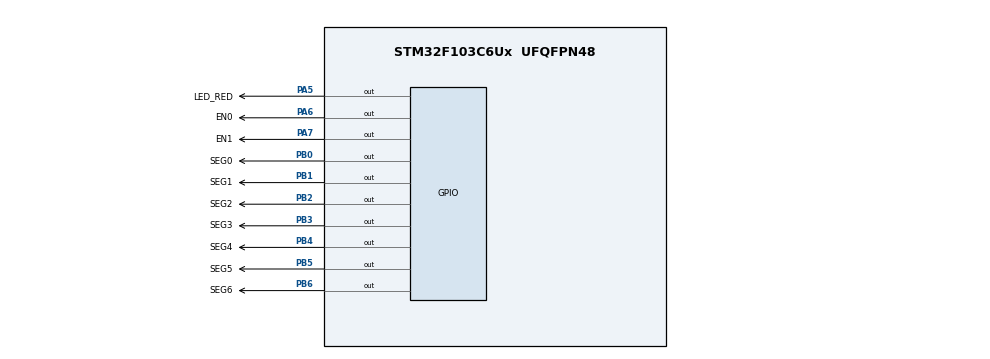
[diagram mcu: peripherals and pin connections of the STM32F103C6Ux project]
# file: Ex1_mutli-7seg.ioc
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Mcu.Family=STM32F1
Mcu.Name=STM32F103C6Ux
Mcu.Package=UFQFPN48
NVIC.PriorityGroup=NVIC_PRIORITYGROUP_4
NVIC.TIM2_IRQn=true\:0\:0\:false\:false\:true\:true\:true
PA5.GPIO_Label=LED_RED
PA5.Signal=GPIO_Output
PA6.GPIO_Label=EN0
PA6.Signal=GPIO_Output
PA7.GPIO_Label=EN1
PA7.Signal=GPIO_Output
PB0.GPIO_Label=SEG0
PB0.Signal=GPIO_Output
PB1.GPIO_Label=SEG1
PB1.Signal=GPIO_Output
PB2.GPIO_Label=SEG2
PB2.Signal=GPIO_Output
PB3.GPIO_Label=SEG3
PB3.Signal=GPIO_Output
PB4.GPIO_Label=SEG4
PB4.Signal=GPIO_Output
PB5.GPIO_Label=SEG5
PB5.Signal=GPIO_Output
PB6.GPIO_Label=SEG6
PB6.Signal=GPIO_Output
ProjectManager.HeapSize=0x200
ProjectManager.StackSize=0x400
ProjectManager.TargetToolchain=STM32CubeIDE
RCC.APB1Freq_Value=8000000
RCC.APB2Freq_Value=8000000
TIM2.Period=9
TIM2.Prescaler=7999
VP_SYS_VS_ND.Mode=No_Debug
VP_TIM2_VS_ClockSourceINT.Mode=Internal
board=custom

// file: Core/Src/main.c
/* USER CODE BEGIN Header */
/**
  ******************************************************************************
  * @file           : main.c
  * @brief          : Main program body
  ******************************************************************************
  * @attention
  *
  * <h2><center>&copy; Copyright (c) 2026 STMicroelectronics.
  * All rights reserved.</center></h2>
  *
  * This software component is licensed by ST under BSD 3-Clause license,
  * the "License"; You may not use this file except in compliance with the
  * License. You may obtain a copy of the License at:
  *                        opensource.org/licenses/BSD-3-Clause
  *
  ******************************************************************************
  */
/* USER CODE END Header */
#include "main.h"

/* USER CODE BEGIN Includes */
#include "software_timer.h"
/* USER CODE END Includes */

TIM_HandleTypeDef htim2;

void SystemClock_Config(void);
static void MX_GPIO_Init(void);
static void MX_TIM2_Init(void);

/* USER CODE BEGIN 0 */
void display7SEG(int num) {
    // Mảng mã hóa cho LED 7 đoạn Anode chung (g f e d c b a)
    // 0: BẬT (RESET), 1: TẮT (SET)
    const uint8_t segment_patterns[10] = {
        0x3F, // 0: 0111111 -> sáng a,b,c,d,e,f
        0x06, // 1: 0000110 -> sáng b,c
        0x5B, // 2: 1011011 -> sáng a,b,d,e,g
        0x4F, // 3: 1001111 -> sáng a,b,c,d,g
        0x66, // 4: 1100110 -> sáng b,c,f,g
        0x6D, // 5: 1101101 -> sáng a,c,d,f,g
        0x7D, // 6: 1111101 -> sáng a,c,d,e,f,g
        0x07, // 7: 0000111 -> sáng a,b,c
        0x7F, // 8: 1111111 -> sáng a,b,c,d,e,f,g
        0x6F  // 9: 1101111 -> sáng a,b,c,d,f,g
    };

    if (num < 0 || num > 9) return;

    uint8_t pattern = segment_patterns[num];

    // Ghi trạng thái ra từng chân từ PB0 (a) đến PB6 (g)
    // Anode chung: Bit = 1 thì xuất mức 0 (RESET) để đèn sáng
    HAL_GPIO_WritePin(GPIOB, GPIO_PIN_0, (pattern & (1 << 0)) ? GPIO_PIN_RESET : GPIO_PIN_SET);
    HAL_GPIO_WritePin(GPIOB, GPIO_PIN_1, (pattern & (1 << 1)) ? GPIO_PIN_RESET : GPIO_PIN_SET);
    HAL_GPIO_WritePin(GPIOB, GPIO_PIN_2, (pattern & (1 << 2)) ? GPIO_PIN_RESET : GPIO_PIN_SET);
    HAL_GPIO_WritePin(GPIOB, GPIO_PIN_3, (pattern & (1 << 3)) ? GPIO_PIN_RESET : GPIO_PIN_SET);
    HAL_GPIO_WritePin(GPIOB, GPIO_PIN_4, (pattern & (1 << 4)) ? GPIO_PIN_RESET : GPIO_PIN_SET);
    HAL_GPIO_WritePin(GPIOB, GPIO_PIN_5, (pattern & (1 << 5)) ? GPIO_PIN_RESET : GPIO_PIN_SET);
    HAL_GPIO_WritePin(GPIOB, GPIO_PIN_6, (pattern & (1 << 6)) ? GPIO_PIN_RESET : GPIO_PIN_SET);
}
/* USER CODE END 0 */

int main(void)
{

  /* MCU Configuration--------------------------------------------------------*/

  /* Reset of all peripherals, Initializes the Flash interface and the Systick. */
  HAL_Init();

  /* Configure the system clock */
  SystemClock_Config();

  /* Initialize all configured peripherals */
  MX_GPIO_Init();
  MX_TIM2_Init();
  /* USER CODE BEGIN 2 */
  HAL_TIM_Base_Start_IT(&htim2);
  // Ngat PNP
  HAL_GPIO_WritePin(EN0_GPIO_Port, EN0_Pin, GPIO_PIN_SET);
  HAL_GPIO_WritePin(EN1_GPIO_Port, EN1_Pin, GPIO_PIN_SET);
  /* USER CODE END 2 */

  /* Infinite loop */
  /* USER CODE BEGIN WHILE */
  while (1)
  {
	// // Toan bo xu ly nam trong ngat timer
    /* USER CODE END WHILE */

  }
}

void SystemClock_Config(void)
{
  RCC_OscInitTypeDef RCC_OscInitStruct = {0};
  RCC_ClkInitTypeDef RCC_ClkInitStruct = {0};

  /** Initializes the RCC Oscillators according to the specified parameters
  * in the RCC_OscInitTypeDef structure.
  */
  RCC_OscInitStruct.OscillatorType = RCC_OSCILLATORTYPE_HSI;
  RCC_OscInitStruct.HSIState = RCC_HSI_ON;
  RCC_OscInitStruct.HSICalibrationValue = RCC_HSICALIBRATION_DEFAULT;
  RCC_OscInitStruct.PLL.PLLState = RCC_PLL_NONE;
  if (HAL_RCC_OscConfig(&RCC_OscInitStruct) != HAL_OK)
  {
    Error_Handler();
  }
  /** Initializes the CPU, AHB and APB buses clocks
  */
  RCC_ClkInitStruct.ClockType = RCC_CLOCKTYPE_HCLK|RCC_CLOCKTYPE_SYSCLK
                              |RCC_CLOCKTYPE_PCLK1|RCC_CLOCKTYPE_PCLK2;
  RCC_ClkInitStruct.SYSCLKSource = RCC_SYSCLKSOURCE_HSI;
  RCC_ClkInitStruct.AHBCLKDivider = RCC_SYSCLK_DIV1;
  RCC_ClkInitStruct.APB1CLKDivider = RCC_HCLK_DIV1;
  RCC_ClkInitStruct.APB2CLKDivider = RCC_HCLK_DIV1;

  if (HAL_RCC_ClockConfig(&RCC_ClkInitStruct, FLASH_LATENCY_0) != HAL_OK)
  {
    Error_Handler();
  }
}

static void MX_TIM2_Init(void)
{

  TIM_ClockConfigTypeDef sClockSourceConfig = {0};
  TIM_MasterConfigTypeDef sMasterConfig = {0};

  htim2.Instance = TIM2;
  htim2.Init.Prescaler = 7999;
  htim2.Init.CounterMode = TIM_COUNTERMODE_UP;
  htim2.Init.Period = 9;
  htim2.Init.ClockDivision = TIM_CLOCKDIVISION_DIV1;
  htim2.Init.AutoReloadPreload = TIM_AUTORELOAD_PRELOAD_DISABLE;
  if (HAL_TIM_Base_Init(&htim2) != HAL_OK)
  {
    Error_Handler();
  }
  sClockSourceConfig.ClockSource = TIM_CLOCKSOURCE_INTERNAL;
  if (HAL_TIM_ConfigClockSource(&htim2, &sClockSourceConfig) != HAL_OK)
  {
    Error_Handler();
  }
  sMasterConfig.MasterOutputTrigger = TIM_TRGO_RESET;
  sMasterConfig.MasterSlaveMode = TIM_MASTERSLAVEMODE_DISABLE;
  if (HAL_TIMEx_MasterConfigSynchronization(&htim2, &sMasterConfig) != HAL_OK)
  {
    Error_Handler();
  }

}

static void MX_GPIO_Init(void)
{
  GPIO_InitTypeDef GPIO_InitStruct = {0};

  /* GPIO Ports Clock Enable */
  __HAL_RCC_GPIOA_CLK_ENABLE();
  __HAL_RCC_GPIOB_CLK_ENABLE();

  /*Configure GPIO pin Output Level */
  HAL_GPIO_WritePin(GPIOA, LED_RED_Pin|EN0_Pin|EN1_Pin, GPIO_PIN_RESET);

  /*Configure GPIO pin Output Level */
  HAL_GPIO_WritePin(GPIOB, SEG0_Pin|SEG1_Pin|SEG2_Pin|SEG3_Pin
                          |SEG4_Pin|SEG5_Pin|SEG6_Pin, GPIO_PIN_RESET);

  /*Configure GPIO pins : LED_RED_Pin EN0_Pin EN1_Pin */
  GPIO_InitStruct.Pin = LED_RED_Pin|EN0_Pin|EN1_Pin;
  GPIO_InitStruct.Mode = GPIO_MODE_OUTPUT_PP;
  GPIO_InitStruct.Pull = GPIO_NOPULL;
  GPIO_InitStruct.Speed = GPIO_SPEED_FREQ_LOW;
  HAL_GPIO_Init(GPIOA, &GPIO_InitStruct);

  /*Configure GPIO pins : SEG0_Pin SEG1_Pin SEG2_Pin SEG3_Pin
                           SEG4_Pin SEG5_Pin SEG6_Pin */
  GPIO_InitStruct.Pin = SEG0_Pin|SEG1_Pin|SEG2_Pin|SEG3_Pin
                          |SEG4_Pin|SEG5_Pin|SEG6_Pin;
  GPIO_InitStruct.Mode = GPIO_MODE_OUTPUT_PP;
  GPIO_InitStruct.Pull = GPIO_NOPULL;
  GPIO_InitStruct.Speed = GPIO_SPEED_FREQ_LOW;
  HAL_GPIO_Init(GPIOB, &GPIO_InitStruct);

}

/* USER CODE BEGIN 4 */
int counter = 50;   // 50 x 10ms = 500ms
int status = 0;     // 0: bat LED 1, 1: bat LED 2

void HAL_TIM_PeriodElapsedCallback(TIM_HandleTypeDef *htim){
    if (htim->Instance == TIM2) {
        counter--;
        if (counter <= 0) {
            counter = 50; // nap lai 500ms
            HAL_GPIO_TogglePin(LED_RED_GPIO_Port, LED_RED_Pin);
            switch (status) {
                case 0:
                    // Tat LED 2
                    HAL_GPIO_WritePin(EN1_GPIO_Port, EN1_Pin, GPIO_PIN_SET);
                    display7SEG(1);
                    // Mo transistor Q1 cho LED 1
                    HAL_GPIO_WritePin(EN0_GPIO_Port, EN0_Pin, GPIO_PIN_RESET);
                    status = 1;
                    break;
                case 1:
                    // Tat LED 1
                    HAL_GPIO_WritePin(EN0_GPIO_Port, EN0_Pin, GPIO_PIN_SET);
                    display7SEG(2);
                    // Mo transistor Q2 cho LED 2
                    HAL_GPIO_WritePin(EN1_GPIO_Port, EN1_Pin, GPIO_PIN_RESET);
                    status = 0;
                    break;
                default:
                    status = 0;
                    break;
            }
        }
    }
}
/* USER CODE END 4 */

void Error_Handler(void)
{
  __disable_irq();
  while (1)
  {
  }
}

/************************ (C) COPYRIGHT STMicroelectronics *****END OF FILE****/
